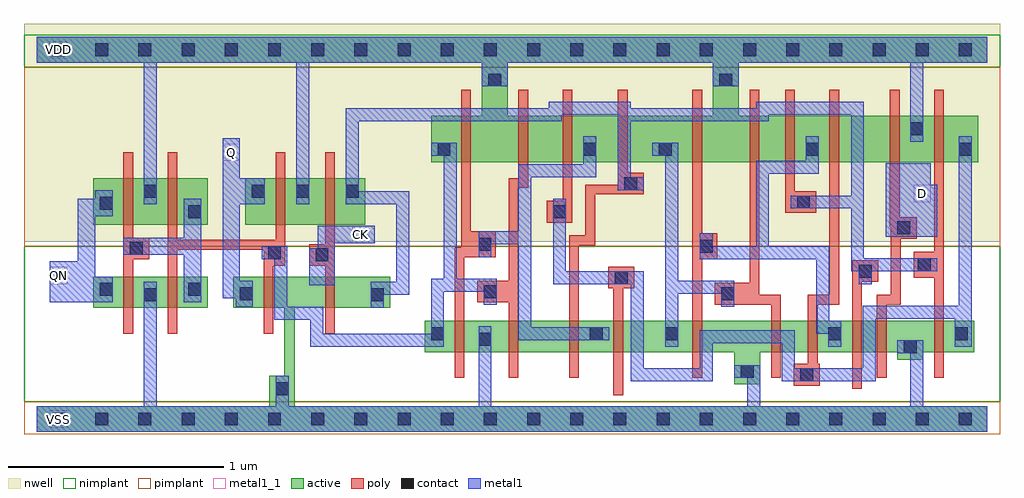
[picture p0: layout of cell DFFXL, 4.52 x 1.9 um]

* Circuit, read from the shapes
.subckt DFFXL CK D Q QN VDD VSS
M1 VSS n1 QN VSS nfet w=0.145u l=0.045u
M2 n1 n2 VSS VSS nfet w=0.145u l=0.045u
M3 VSS n2 Q VSS nfet w=0.145u l=0.045u
M4 n3 CK VSS VSS nfet w=0.145u l=0.045u
M5 VSS n4 n2 VSS nfet w=0.145u l=0.045u
M6 n5 n2 VSS VSS nfet w=0.145u l=0.045u
M7 n4 n3 n5 VSS nfet w=0.145u l=0.045u
M8 n6 n7 n4 VSS nfet w=0.145u l=0.045u
M9 VSS n8 n6 VSS nfet w=0.145u l=0.045u
M10 n9 n6 VSS VSS nfet w=0.145u l=0.045u
M11 n8 n7 n9 VSS nfet w=0.145u l=0.045u
M12 n10 n3 n8 VSS nfet w=0.145u l=0.045u
M13 VSS D n10 VSS nfet w=0.145u l=0.045u
M14 n7 n3 VSS VSS nfet w=0.145u l=0.045u
M15 VDD n1 QN VDD pfet w=0.215u l=0.045u
M16 n1 n2 VDD VDD pfet w=0.215u l=0.045u
M17 VDD n2 Q VDD pfet w=0.215u l=0.045u
M18 n3 CK VDD VDD pfet w=0.215u l=0.045u
M19 VDD n4 n2 VDD pfet w=0.215u l=0.045u
M20 n11 n2 VDD VDD pfet w=0.215u l=0.045u
M21 n4 n7 n11 VDD pfet w=0.215u l=0.045u
M22 n6 n3 n4 VDD pfet w=0.215u l=0.045u
M23 VDD n8 n6 VDD pfet w=0.215u l=0.045u
M24 n12 n6 VDD VDD pfet w=0.215u l=0.045u
M25 n8 n3 n12 VDD pfet w=0.215u l=0.045u
M26 n13 n7 n8 VDD pfet w=0.215u l=0.045u
M27 VDD D n13 VDD pfet w=0.215u l=0.045u
M28 n7 n3 VDD VDD pfet w=0.215u l=0.045u
.ends

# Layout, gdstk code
import gdstk
lib = gdstk.Library(unit=1e-6, precision=5e-10)
def R(c, l, rs):  # rectangles x0, y0, x1, y1
    for r in rs: c.add(gdstk.rectangle(r[:2], r[2:], *l))
def A(c, l, x, y, w, h, nx, ny, dx, dy):  # array of equal rectangles
    R(c, l, [(x+i*dx, y+j*dy, x+i*dx+w, y+j*dy+h) for i in range(nx) for j in range(ny)])
def P(c, l, *ps):  # polygons
    for p in ps: c.add(gdstk.Polygon(p, *l))
active = (1, 0)
nwell = (2, 0)
poly = (3, 0)
nimplant = (4, 0)
pimplant = (5, 0)
contact = (6, 0)
metal1 = (7, 0)
metal1_1 = (7, 1)

dffxl = lib.new_cell('DFFXL')
R(dffxl, active, [(0.26,0.515,0.79,0.66), (0.26,0.9,0.79,1.115), (0.965,0.9,1.52,1.115)])
P(dffxl, active, [(0,1.77),(4.4,1.77),(4.4,1.65),(3.25,1.65),(3.25,1.405),(4.36,1.405),(4.36,1.19),(1.825,1.19),(1.825,1.405),(2.06,1.405),(2.06,1.65),(2.18,1.65),(2.18,1.405),(3.13,1.405),(3.13,1.65),(0,1.65)],
  [(0.91,0.66),(1.635,0.66),(1.635,0.515),(1.195,0.515),(1.195,0.06),(4.4,0.06),(4.4,-0.06),(0,-0.06),(0,0.06),(1.075,0.06),(1.075,0.2),(1.145,0.2),(1.145,0.515),(0.91,0.515)],
  [(1.795,0.455),(4.34,0.455),(4.34,0.31),(4.105,0.31),(4.105,0.275),(3.985,0.275),(3.985,0.31),(3.35,0.31),(3.35,0.16),(3.23,0.16),(3.23,0.31),(1.795,0.31)])
R(dffxl, nwell, [(-0.06,0.82,4.46,1.83)])
P(dffxl, poly, [(1.965,1.525),(2.01,1.525),(2.01,0.87),(2.125,0.87),(2.125,0.75),(1.98,0.75),(1.98,0.19),(1.935,0.19),(1.935,0.795),(1.965,0.795)],
  [(2.23,1.525),(2.275,1.525),(2.275,1.07),(2.23,1.07),(2.23,0.19),(2.185,0.19),(2.185,0.54),(2.04,0.54),(2.04,0.64),(2.185,0.64),(2.185,1.115),(2.23,1.115)],
  [(2.435,1.525),(2.48,1.525),(2.48,0.91),(2.36,0.91),(2.36,1.01),(2.435,1.01)],
  [(2.69,1.525),(2.735,1.525),(2.735,1.14),(2.81,1.14),(2.81,1.04),(2.585,1.04),(2.585,0.805),(2.51,0.805),(2.51,0.19),(2.465,0.19),(2.465,0.85),(2.54,0.85),(2.54,1.085),(2.69,1.085)],
  [(3.035,1.525),(3.08,1.525),(3.08,0.86),(3.15,0.86),(3.15,0.74),(3.08,0.74),(3.08,0.19),(3.035,0.19)],
  [(3.3,1.525),(3.345,1.525),(3.345,0.575),(3.445,0.575),(3.445,0.19),(3.4,0.19),(3.4,0.53),(3.14,0.53),(3.14,0.63),(3.3,0.63)],
  [(3.465,1.525),(3.51,1.525),(3.51,1.055),(3.61,1.055),(3.61,0.955),(3.465,0.955)],
  [(3.67,1.525),(3.715,1.525),(3.715,0.53),(3.615,0.53),(3.615,0.255),(3.625,0.255),(3.625,0.155),(3.505,0.155),(3.505,0.255),(3.57,0.255),(3.57,0.575),(3.67,0.575)],
  [(3.95,1.525),(3.995,1.525),(3.995,0.935),(4.075,0.935),(4.075,0.835),(4,0.835),(4,0.53),(3.935,0.53),(3.935,0.19),(3.89,0.19),(3.89,0.575),(3.955,0.575),(3.955,0.89),(3.95,0.89)],
  [(4.155,1.525),(4.2,1.525),(4.2,0.19),(4.155,0.19),(4.155,0.655),(4.06,0.655),(4.06,0.775),(4.155,0.775)],
  [(0.4,1.235),(0.445,1.235),(0.445,0.84),(0.52,0.84),(0.52,0.74),(0.445,0.74),(0.445,0.395),(0.4,0.395)],
  [(0.605,1.235),(0.65,1.235),(0.65,0.83),(1.105,0.83),(1.105,1.235),(1.15,1.235),(1.15,0.71),(1.095,0.71),(1.095,0.395),(1.05,0.395),(1.05,0.785),(0.65,0.785),(0.65,0.395),(0.605,0.395)],
  [(1.335,1.235),(1.38,1.235),(1.38,0.395),(1.335,0.395),(1.335,0.71),(1.26,0.71),(1.26,0.81),(1.335,0.81)],
  [(3.775,0.735),(3.895,0.735),(3.895,0.635),(3.82,0.635),(3.82,0.14),(3.775,0.14)],
  [(2.645,0.705),(2.765,0.705),(2.765,0.605),(2.715,0.605),(2.715,0.11),(2.67,0.11),(2.67,0.605),(2.645,0.605)])
R(dffxl, nimplant, [(-0.06,0.08,4.46,0.8), (-0.06,1.63,4.46,1.78)])
R(dffxl, pimplant, [(-0.06,-0.07,4.46,0.08), (-0.06,0.8,4.46,1.63)])
A(dffxl, contact, 0.07, -0.03, 0.06, 0.06, 22, 2, 0.2, 1.71)
R(dffxl, contact, [(1.105,0.11,1.165,0.17), (3.535,0.175,3.595,0.235), (3.26,0.19,3.32,0.25), (4.015,0.305,4.075,0.365), (2.045,0.34,2.105,0.4), (1.825,0.365,1.885,0.425), (2.56,0.365,2.62,0.425), (2.91,0.365,2.97,0.425), (3.665,0.365,3.725,0.425), (4.25,0.365,4.31,0.425), (0.495,0.545,0.555,0.605), (1.545,0.545,1.605,0.605), (0.94,0.55,1,0.61), (3.17,0.55,3.23,0.61), (2.07,0.56,2.13,0.62), (0.29,0.57,0.35,0.63), (0.7,0.57,0.76,0.63), (2.675,0.625,2.735,0.685), (3.805,0.655,3.865,0.715), (4.08,0.685,4.14,0.745), (1.29,0.73,1.35,0.79), (1.07,0.74,1.13,0.8), (0.43,0.76,0.49,0.82), (3.07,0.77,3.13,0.83), (2.045,0.78,2.105,0.84), (3.985,0.855,4.045,0.915), (0.7,0.93,0.76,0.99), (2.39,0.93,2.45,0.99), (0.29,0.97,0.35,1.03), (3.52,0.975,3.58,1.035), (0.495,1.025,0.555,1.085), (0.995,1.025,1.055,1.085), (1.2,1.025,1.26,1.085), (1.43,1.025,1.49,1.085), (2.72,1.06,2.78,1.12), (1.855,1.22,1.915,1.28), (2.53,1.22,2.59,1.28), (2.88,1.22,2.94,1.28), (3.56,1.22,3.62,1.28), (4.27,1.22,4.33,1.28), (4.045,1.315,4.105,1.375), (2.09,1.54,2.15,1.6), (3.16,1.54,3.22,1.6)])
P(dffxl, metal1, [(0,1.77),(4.4,1.77),(4.4,1.65),(4.105,1.65),(4.105,1.285),(4.045,1.285),(4.045,1.65),(3.25,1.65),(3.25,1.54),(3.13,1.54),(3.13,1.65),(2.18,1.65),(2.18,1.54),(2.06,1.54),(2.06,1.65),(1.26,1.65),(1.26,0.995),(1.2,0.995),(1.2,1.65),(0.555,1.65),(0.555,0.995),(0.495,0.995),(0.495,1.65),(0,1.65)],
  [(0.27,1.06),(0.35,1.06),(0.35,0.94),(0.27,0.94),(0.27,0.66),(0.35,0.66),(0.35,0.54),(0.06,0.54),(0.06,0.73),(0.19,0.73),(0.19,1.02),(0.27,1.02)],
  [(0.86,1.3),(0.94,1.3),(0.94,1.115),(1.055,1.115),(1.055,0.995),(0.94,0.995),(0.94,0.64),(1,0.64),(1,0.52),(0.92,0.52),(0.92,0.56),(0.86,0.56)],
  [(0.68,1.02),(0.76,1.02),(0.76,0.54),(0.68,0.54),(0.68,0.76),(0.4,0.76),(0.4,0.84),(0.68,0.84)],
  [(2.37,1.47),(2.75,1.47),(2.75,1.44),(3.33,1.44),(3.33,1.47),(3.83,1.47),(3.83,0.745),(4.17,0.745),(4.17,0.685),(3.865,0.685),(3.865,0.625),(3.805,0.625),(3.805,0.685),(3.77,0.685),(3.77,0.975),(3.49,0.975),(3.49,1.035),(3.77,1.035),(3.77,1.41),(3.39,1.41),(3.39,1.38),(2.75,1.38),(2.75,1.12),(2.81,1.12),(2.81,1.06),(2.69,1.06),(2.69,1.41),(2.43,1.41),(2.43,1.38),(1.49,1.38),(1.49,1.055),(1.725,1.055),(1.725,0.575),(1.605,0.575),(1.605,0.515),(1.545,0.515),(1.545,0.635),(1.665,0.635),(1.665,0.995),(1.43,0.995),(1.43,1.44),(2.37,1.44)],
  [(2.53,1.31),(2.59,1.31),(2.59,1.12),(2.29,1.12),(2.29,0.425),(2.65,0.425),(2.65,0.365),(2.23,0.365),(2.23,0.81),(2.105,0.81),(2.105,0.75),(2.045,0.75),(2.045,0.87),(2.23,0.87),(2.23,1.18),(2.53,1.18)],
  [(1.825,1.28),(1.945,1.28),(1.945,0.65),(2.13,0.65),(2.13,0.53),(2.07,0.53),(2.07,0.59),(1.885,0.59),(1.885,0.335),(1.265,0.335),(1.265,0.46),(1.1,0.46),(1.1,0.74),(1.04,0.74),(1.04,0.8),(1.16,0.8),(1.16,0.52),(1.325,0.52),(1.325,0.395),(1.825,0.395),(1.825,0.65),(1.885,0.65),(1.885,1.22),(1.825,1.22)],
  [(0.495,0.635),(0.555,0.635),(0.555,0.06),(1.105,0.06),(1.105,0.2),(1.165,0.2),(1.165,0.06),(2.045,0.06),(2.045,0.43),(2.105,0.43),(2.105,0.06),(3.29,0.06),(3.29,0.19),(3.23,0.19),(3.23,0.25),(3.35,0.25),(3.35,0.06),(4.045,0.06),(4.045,0.305),(3.985,0.305),(3.985,0.365),(4.105,0.365),(4.105,0.06),(4.4,0.06),(4.4,-0.06),(0,-0.06),(0,0.06),(0.495,0.06)],
  [(1.3,0.895),(1.565,0.895),(1.565,0.815),(1.38,0.815),(1.38,0.62),(1.26,0.62),(1.26,0.79),(1.3,0.79)],
  [(3.56,1.31),(3.62,1.31),(3.62,1.135),(3.39,1.135),(3.39,0.8),(3.67,0.8),(3.67,0.455),(3.725,0.455),(3.725,0.335),(3.665,0.335),(3.665,0.395),(3.61,0.395),(3.61,0.74),(3.07,0.74),(3.07,0.86),(3.13,0.86),(3.13,0.8),(3.33,0.8),(3.33,1.195),(3.56,1.195)],
  [(2.85,1.28),(2.97,1.28),(2.97,0.64),(3.23,0.64),(3.23,0.52),(3.17,0.52),(3.17,0.58),(2.97,0.58),(2.97,0.335),(2.91,0.335),(2.91,1.22),(2.85,1.22)],
  [(2.39,1.02),(2.45,1.02),(2.45,0.685),(2.81,0.685),(2.81,0.235),(3.07,0.235),(3.07,0.41),(3.51,0.41),(3.51,0.235),(3.825,0.235),(3.825,0.525),(4.27,0.525),(4.27,1.31),(4.33,1.31),(4.33,0.335),(4.25,0.335),(4.25,0.465),(3.885,0.465),(3.885,0.175),(3.45,0.175),(3.45,0.35),(3.13,0.35),(3.13,0.175),(2.75,0.175),(2.75,0.625),(2.39,0.625)],
  [(3.93,1.185),(4.14,1.185),(4.14,1.085),(4.17,1.085),(4.17,0.845),(3.93,0.845)])
R(dffxl, metal1_1, [(0.06,-0.04,0.14,0.04), (0.06,0.625,0.14,0.705), (1.46,0.815,1.54,0.895), (4.06,1.005,4.14,1.085), (0.86,1.195,0.94,1.275), (0.06,1.67,0.14,1.75)])
dffxl.add(gdstk.Label('Q', (0.9,1.235), layer=7, texttype=1))
dffxl.add(gdstk.Label('QN', (0.1,0.665), layer=7, texttype=1))
dffxl.add(gdstk.Label('D', (4.1,1.045), layer=7, texttype=1))
dffxl.add(gdstk.Label('CK', (1.5,0.855), layer=7, texttype=1))
dffxl.add(gdstk.Label('VDD', (0.1,1.71), layer=7, texttype=1))
dffxl.add(gdstk.Label('VSS', (0.1,0), layer=7, texttype=1))
dffxl.add(gdstk.Label('DFFXL', (0,0), layer=63, texttype=0))

lib.write_gds('DFFXL.gds')
